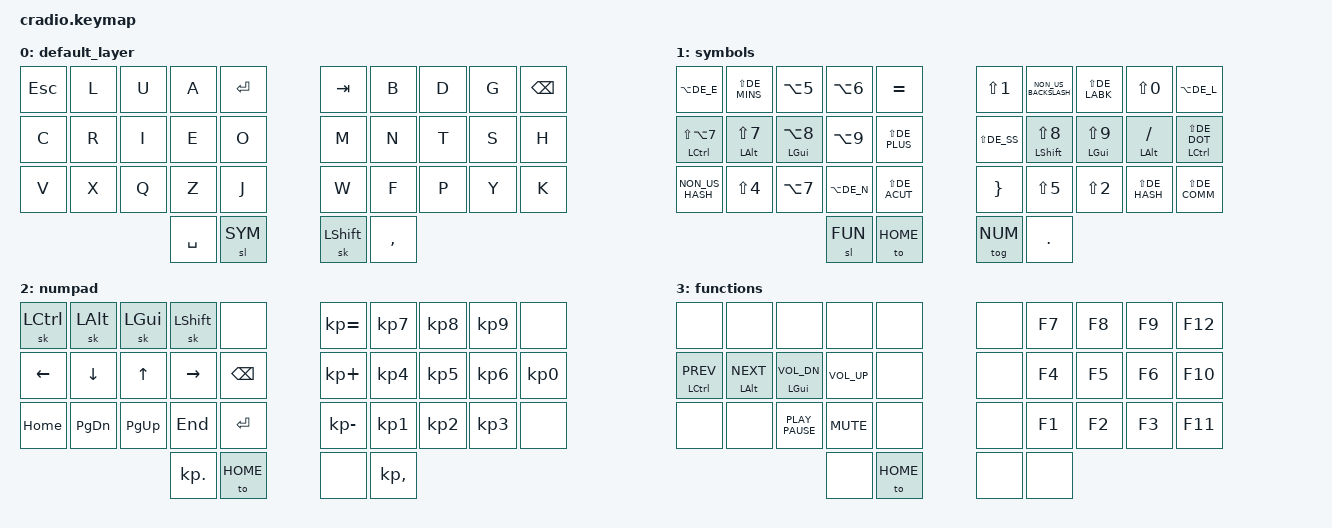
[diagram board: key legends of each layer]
/*
 * Copyright (c) 2020 The ZMK Contributors
 *
 * SPDX-License-Identifier: MIT
 */

#include <behaviors.dtsi>
#include <dt-bindings/zmk/keys.h>
#include <dt-bindings/zmk/bt.h>

/*
 * ┌───┬───┬───┬───┬───┬───┬───┬───┬───┬───┬───┬───┬───┬─────┐
 * │ ^ │ 1 │ 2 │ 3 │ 4 │ 5 │ 6 │ 7 │ 8 │ 9 │ 0 │ ß │ ´ │     │
 * ├───┴─┬─┴─┬─┴─┬─┴─┬─┴─┬─┴─┬─┴─┬─┴─┬─┴─┬─┴─┬─┴─┬─┴─┬─┴─┬───┤
 * │     │ Q │ W │ E │ R │ T │ Z │ U │ I │ O │ P │ Ü │ + │   │
 * ├─────┴┬──┴┬──┴┬──┴┬──┴┬──┴┬──┴┬──┴┬──┴┬──┴┬──┴┬──┴┬──┴┐  │
 * │      │ A │ S │ D │ F │ G │ H │ J │ K │ L │ Ö │ Ä │ # │  │
 * ├────┬─┴─┬─┴─┬─┴─┬─┴─┬─┴─┬─┴─┬─┴─┬─┴─┬─┴─┬─┴─┬─┴─┬─┴───┴──┤
 * │    │ < │ Y │ X │ C │ V │ B │ N │ M │ , │ . │ - │        │
 * ├────┴┬──┴─┬─┴───┼───┴───┴───┴───┴───┴───┼───┴─┬─┴──┬─────┤
 * │     │    │     │                       │     │    │     │
 * └─────┴────┴─────┴───────────────────────┴─────┴────┴─────┘
 */
// Row 1
#define DE_CIRC GRAVE // ^ (dead)
#define DE_SS   MINUS // ß
#define DE_ACUT EQUAL // ´ (dead)

// Row 2
#define DE_Q    Q            // Q
#define DE_W    W            // W
#define DE_E    E            // E
#define DE_R    R            // R
#define DE_T    T            // T
#define DE_Z    Y            // Z
#define DE_U    U            // U
#define DE_I    I            // I
#define DE_O    O            // O
#define DE_P    P            // P
#define DE_UDIA LEFT_BRACKET // Ü
#define DE_PLUS RIGHT_BRACE  // +

// Row 3
#define DE_A    A            // A
#define DE_S    S            // S
#define DE_D    D            // D
#define DE_F    F            // F
#define DE_G    G            // G
#define DE_H    H            // H
#define DE_J    J            // J
#define DE_K    K            // K
#define DE_L    L            // L
#define DE_ODIA SEMICOLON    // Ö
#define DE_ADIA SINGLE_QUOTE // Ä
#define DE_HASH NON_US_HASH  // #

// Row 4
#define DE_LABK NON_US_BACKSLASH // <
#define DE_Y    Z                // Y
#define DE_X    X                // X
#define DE_C    C                // C
#define DE_V    V                // V
#define DE_B    B                // B
#define DE_N    N                // N
#define DE_M    M                // M
#define DE_COMM COMMA            // ,
#define DE_DOT  PERIOD           // .
#define DE_MINS SLASH            // -

/* Shifted symbols
 * ┌───┬───┬───┬───┬───┬───┬───┬───┬───┬───┬───┬───┬───┬─────┐
 * │ ° │ ! │ " │ § │ $ │ % │ & │ / │ ( │ ) │ = │ ? │ ` │     │
 * ├───┴─┬─┴─┬─┴─┬─┴─┬─┴─┬─┴─┬─┴─┬─┴─┬─┴─┬─┴─┬─┴─┬─┴─┬─┴─┬───┤
 * │     │   │   │   │   │   │   │   │   │   │   │   │ * │   │
 * ├─────┴┬──┴┬──┴┬──┴┬──┴┬──┴┬──┴┬──┴┬──┴┬──┴┬──┴┬──┴┬──┴┐  │
 * │      │   │   │   │   │   │   │   │   │   │   │   │ ' │  │
 * ├────┬─┴─┬─┴─┬─┴─┬─┴─┬─┴─┬─┴─┬─┴─┬─┴─┬─┴─┬─┴─┬─┴─┬─┴───┴──┤
 * │    │ > │   │   │   │   │   │   │   │ ; │ : │ _ │        │
 * ├────┴┬──┴─┬─┴───┼───┴───┴───┴───┴───┴───┼───┴─┬─┴──┬─────┤
 * │     │    │     │                       │     │    │     │
 * └─────┴────┴─────┴───────────────────────┴─────┴────┴─────┘
 */
// Row 1
#define DE_DEG  LS(DE_CIRC) // °
#define DE_EXLM LS(NUMBER_1)    // !
#define DE_DQUO LS(NUMBER_2)    // "
#define DE_SECT LS(NUMBER_3)    // §
#define DE_DLR  LS(NUMBER_4)    // $
#define DE_PERC LS(NUMBER_5)    // %
#define DE_AMPR LS(NUMBER_6)    // &
#define DE_SLSH LS(NUMBER_7)    // /
#define DE_LPRN LS(NUMBER_8)    // (
#define DE_RPRN LS(NUMBER_9)    // )
#define DE_EQL  LS(NUMBER_0)    // =
#define DE_QUES LS(DE_SS)   // ?
#define DE_GRV  LS(DE_ACUT) // ` (dead)
// Row 2
#define DE_ASTR LS(DE_PLUS) // *
// Row 3
#define DE_QUOT LS(DE_HASH) // '
// Row 4
#define DE_RABK LS(DE_LABK) // >
#define DE_SCLN LS(DE_COMM) // ;
#define DE_COLN LS(DE_DOT)  // :
#define DE_UNDS LS(DE_MINS) // _

/* Alted symbols
 * ┌───┬───┬───┬───┬───┬───┬───┬───┬───┬───┬───┬───┬───┬─────┐
 * │ „ │ ¡ │ “ │ ¶ │ ¢ │ [ │ ] │ | │ { │ } │ ≠ │ ¿ │   │     │
 * ├───┴─┬─┴─┬─┴─┬─┴─┬─┴─┬─┴─┬─┴─┬─┴─┬─┴─┬─┴─┬─┴─┬─┴─┬─┴─┬───┤
 * │     │ « │ ∑ │ € │ ® │ † │ Ω │ ¨ │ ⁄ │ Ø │ π │ • │ ± │   │
 * ├─────┴┬──┴┬──┴┬──┴┬──┴┬──┴┬──┴┬──┴┬──┴┬──┴┬──┴┬──┴┬──┴┐  │
 * │      │ Å │ ‚ │ ∂ │ ƒ │ © │ ª │ º │ ∆ │ @ │ Œ │ Æ │ ‘ │  │
 * ├────┬─┴─┬─┴─┬─┴─┬─┴─┬─┴─┬─┴─┬─┴─┬─┴─┬─┴─┬─┴─┬─┴─┬─┴───┴──┤
 * │    │ ≤ │ ¥ │ ≈ │ Ç │ √ │ ∫ │ ~ │ µ │ ∞ │ … │ – │        │
 * ├────┴┬──┴─┬─┴───┼───┴───┴───┴───┴───┴───┼───┴─┬─┴──┬─────┤
 * │     │    │     │                       │     │    │     │
 * └─────┴────┴─────┴───────────────────────┴─────┴────┴─────┘
 */
// Row 1
#define DE_DLQU LA(DE_CIRC) // „
#define DE_IEXL LA(NUMBER_1)    // ¡
#define DE_LDQU LA(NUMBER_2)    // “
#define DE_PILC LA(NUMBER_3)    // ¶
#define DE_CENT LA(NUMBER_4)    // ¢
#define DE_LBRC LA(NUMBER_5)    // [
#define DE_RBRC LA(NUMBER_6)    // ]
#define DE_PIPE LA(NUMBER_7)    // |
#define DE_LCBR LA(NUMBER_8)    // {
#define DE_RCBR LA(NUMBER_9)    // }
#define DE_NEQL LA(NUMBER_0)    // ≠
#define DE_IQUE LA(DE_SS)   // ¿
// Row 2
#define DE_LDAQ LA(DE_Q)    // «
#define DE_NARS LA(DE_W)    // ∑
#define DE_EURO LA(DE_E)    // €
#define DE_REGD LA(DE_R)    // ®
#define DE_DAGG LA(DE_T)    // †
#define DE_OMEG LA(DE_Z)    // Ω
#define DE_DIAE LA(DE_U)    // ¨ (dead)
#define DE_FRSL LA(DE_I)    // ⁄
#define DE_OSTR LA(DE_O)    // Ø
#define DE_PI   LA(DE_P)    // π
#define DE_BULT LA(DE_UDIA) // •
#define DE_PLMN LA(DE_PLUS) // ±
// Row 3
#define DE_ARNG LA(DE_A)    // Å
#define DE_SLQU LA(DE_S)    // ‚
#define DE_PDIF LA(DE_D)    // ∂
#define DE_FHK  LA(DE_F)    // ƒ
#define DE_COPY LA(DE_G)    // ©
#define DE_FORD LA(DE_H)    // ª
#define DE_MORD LA(DE_J)    // º
#define DE_INCR LA(DE_K)    // ∆
#define DE_AT   LA(DE_L)    // @
#define DE_OE   LA(DE_ODIA) // Œ
#define DE_AE   LA(DE_ADIA) // Æ
#define DE_LSQU LA(DE_HASH) // ‘
// Row 4
#define DE_LTEQ LA(DE_LABK) // ≤
#define DE_YEN  LA(DE_Y)    // ¥
#define DE_AEQL LA(DE_X)    // ≈
#define DE_CCCE LA(DE_C)    // Ç
#define DE_SQRT LA(DE_V)    // √
#define DE_INTG LA(DE_B)    // ∫
#define DE_TILD LA(DE_N)    // ~ (dead)
#define DE_MICR LA(DE_M)    // µ
#define DE_INFN LA(DE_COMM) // ∞
#define DE_ELLP LA(DE_DOT)  // …
#define DE_NDSH LA(DE_MINS) // –

/* Shift+Alted symbols
 * ┌───┬───┬───┬───┬───┬───┬───┬───┬───┬───┬───┬───┬───┬─────┐
 * │   │ ¬ │ ” │   │ £ │ ﬁ │   │ \ │ ˜ │ · │ ¯ │ ˙ │ ˚ │     │
 * ├───┴─┬─┴─┬─┴─┬─┴─┬─┴─┬─┴─┬─┴─┬─┴─┬─┴─┬─┴─┬─┴─┬─┴─┬─┴─┬───┤
 * │     │ » │   │ ‰ │ ¸ │ ˝ │ ˇ │ Á │ Û │   │ ∏ │   │  │   │
 * ├─────┴┬──┴┬──┴┬──┴┬──┴┬──┴┬──┴┬──┴┬──┴┬──┴┬──┴┬──┴┬──┴┐  │
 * │      │   │ Í │ ™ │ Ï │ Ì │ Ó │ ı │   │ ﬂ │   │   │   │  │
 * ├────┬─┴─┬─┴─┬─┴─┬─┴─┬─┴─┬─┴─┬─┴─┬─┴─┬─┴─┬─┴─┬─┴─┬─┴───┴──┤
 * │    │ ≥ │ ‡ │ Ù │   │ ◊ │ ‹ │ › │ ˘ │ ˛ │ ÷ │ — │        │
 * ├────┴┬──┴─┬─┴───┼───┴───┴───┴───┴───┴───┼───┴─┬─┴──┬─────┤
 * │     │    │     │                       │     │    │     │
 * └─────┴────┴─────┴───────────────────────┴─────┴────┴─────┘
 */
// Row 1
#define DE_NOT  LS(LA(NUMBER_1))    // ¬
#define DE_RDQU LS(LA(NUMBER_2))    // ”
#define DE_PND  LS(LA(NUMBER_4))    // £
#define DE_FI   LS(LA(NUMBER_5))    // ﬁ
#define DE_BSLS LS(LA(NUMBER_7))    // (backslash)
#define DE_STIL LS(LA(NUMBER_8))    // ˜
#define DE_MDDT LS(LA(NUMBER_9))    // ·
#define DE_MACR LS(LA(NUMBER_0))    // ¯
#define DE_DOTA LS(LA(DE_SS))   // ˙
#define DE_RNGA LS(LA(DE_ACUT)) // ˚
// Row 2
#define DE_RDAQ LS(LA(DE_Q))    // »
#define DE_PERM LS(LA(DE_E))    // ‰
#define DE_CEDL LS(LA(DE_R))    // ¸
#define DE_DACU LS(LA(DE_T))    // ˝
#define DE_CARN LS(LA(DE_Z))    // ˇ
#define DE_AACU LS(LA(DE_U))    // Á
#define DE_UCIR LS(LA(DE_I))    // Û
#define DE_NARP LS(LA(DE_P))    // ∏
#define DE_APPL LS(LA(DE_PLUS)) //  (Apple logo)
// Row 3
#define DE_IACU LS(LA(DE_S))    // Í
#define DE_TM   LS(LA(DE_D))    // ™
#define DE_IDIA LS(LA(DE_F))    // Ï
#define DE_IGRV LS(LA(DE_G))    // Ì
#define DE_OACU LS(LA(DE_H))    // Ó
#define DE_DLSI LS(LA(DE_J))    // ı
#define DE_FL   LS(LA(DE_L))    // ﬂ
// Row 4
#define DE_GTEQ LS(LA(DE_LABK)) // ≥
#define DE_DDAG LS(LA(DE_Y))    // ‡
#define DE_UGRV LS(LA(DE_X))    // Ù
#define DE_LOZN LS(LA(DE_V))    // ◊
#define DE_LSAQ LS(LA(DE_B))    // ‹
#define DE_RSAQ LS(LA(DE_N))    // ›
#define DE_BREV LS(LA(DE_M))    // ˘
#define DE_OGON LS(LA(DE_COMM)) // ˛
#define DE_DIV  LS(LA(DE_DOT))  // ÷

#define DEFAULT 0
#define SYM     1
#define NUM     2
#define FUN     3

#define NONE 0
#define HOME 0


/ { 

    behaviors {
        hm: homerow_mods {
            compatible = "zmk,behavior-hold-tap";
            label = "HOMEROW_MODS";
            #binding-cells = <2>;
            tapping-term-ms = <150>;
            quick_tap_ms = <0>;
            flavor = "tap-preferred";
            bindings = <&kp>, <&kp>;
        };
    };

    combos {
        compatible = "zmk,combos";
        combo_udia {
            timeout-ms = <50>;
            key-positions = <2 46>;
            bindings = <&kp DE_UDIA>;
            layers = <0>;
        };
        combo_adia {
            timeout-ms = <50>;
            key-positions = <3 46>;
            bindings = <&kp DE_ADIA>;
            layers = <0>;
        };
        combo_ss {
            timeout-ms = <50>;
            key-positions = <4 46>;
            bindings = <&kp DE_SS>;
            layers = <0>;
        };
        combo_odia {
            timeout-ms = <50>;
            key-positions = <14 46>;
            bindings = <&kp DE_ODIA>;
            layers = <0>;
        };
    };

    keymap {
        compatible = "zmk,keymap";
        
        default_layer {
            bindings = <
            &kp ESCAPE &kp DE_L &kp DE_U   &kp DE_A  &kp ENTER &kp TAB    &kp DE_B    &kp DE_D &kp DE_G &kp BACKSPACE
            &kp DE_C   &kp DE_R &kp DE_I   &kp DE_E  &kp DE_O  &kp DE_M   &kp DE_N    &kp DE_T &kp DE_S &kp DE_H     
            &kp DE_V   &kp DE_X &kp DE_Q   &kp DE_Y  &kp DE_J  &kp DE_W   &kp DE_F    &kp DE_P &kp DE_Z &kp DE_K     
                                           &kp SPACE &sl SYM   &sk LSHIFT &kp DE_COMM 
            >;
        };

        symbols {
            bindings =< 
            &kp DE_EURO       &kp DE_UNDS      &kp DE_LBRC      &kp DE_RBRC &kp DE_ACUT &kp DE_EXLM &kp DE_LABK        &kp DE_RABK      &kp DE_EQL       &kp DE_AT  
            &hm LCTRL DE_BSLS &hm LALT DE_SLSH &hm LGUI DE_LCBR &kp DE_RCBR &kp DE_ASTR &kp DE_QUES &hm LSHIFT DE_LPRN &hm LGUI DE_RPRN &hm LALT DE_MINS &hm LCTRL DE_COLN
            &kp DE_HASH       &kp DE_DLR       &kp DE_PIPE      &kp DE_TILD &kp DE_GRV  &kp DE_PLUS &kp DE_PERC        &kp DE_DQUO      &kp DE_QUOT      &kp DE_SCLN
                                                                &sl FUN     &to HOME    &tog NUM    &kp DE_DOT
            >;
        };

        numpad {
            bindings =< 
            &sk LCTRL &sk LALT      &sk LGUI    &sk LSHIFT  &none         &kp KP_EQUAL &kp KP_N7    &kp KP_N8 &kp KP_N9 &none    
            &kp LEFT  &kp DOWN      &kp UP      &kp RIGHT   &kp BACKSPACE &kp KP_PLUS  &kp KP_N4    &kp KP_N5 &kp KP_N6 &kp KP_N0
            &kp HOME  &kp PAGE_DOWN &kp PAGE_UP &kp END     &kp ENTER     &kp KP_MINUS &kp KP_N1    &kp KP_N2 &kp KP_N3 &none    
                                                &kp KP_DOT  &to HOME      &none        &kp KP_COMMA 
            >;
        };

        functions {
            bindings =< 
            &none            &none           &none             &none        &none    &none &kp F7 &kp F8 &kp F9 &kp F12
            &hm LCTRL K_PREV &hm LALT K_NEXT &hm LGUI K_VOL_DN &kp K_VOL_UP &none    &none &kp F4 &kp F5 &kp F6 &kp F10
            &none            &none           &kp K_PLAY_PAUSE  &kp K_MUTE   &none    &none &kp F1 &kp F2 &kp F3 &kp F11
                                                               &none        &to HOME &none &none
            >;
        };
	};
};
